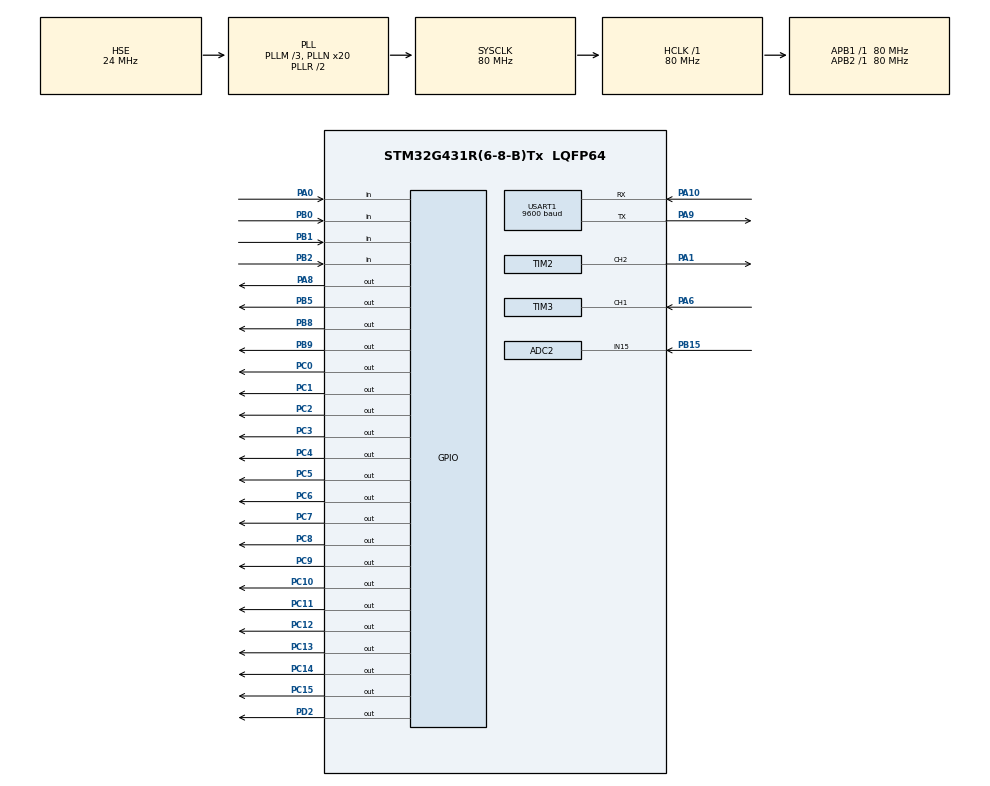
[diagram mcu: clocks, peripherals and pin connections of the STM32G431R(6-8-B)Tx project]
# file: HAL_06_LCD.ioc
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ADC2.Channel-0\#ChannelRegularConversion=ADC_CHANNEL_15
ADC2.ClockPrescaler=ADC_CLOCK_ASYNC_DIV128
ADC2.NbrOfConversionFlag=1
ADC2.OffsetNumber-0\#ChannelRegularConversion=ADC_OFFSET_NONE
ADC2.Rank-0\#ChannelRegularConversion=1
ADC2.SamplingTime-0\#ChannelRegularConversion=ADC_SAMPLETIME_2CYCLES_5
Mcu.Family=STM32G4
Mcu.Name=STM32G431R(6-8-B)Tx
Mcu.Package=LQFP64
NVIC.PriorityGroup=NVIC_PRIORITYGROUP_4
NVIC.TIM1_BRK_TIM15_IRQn=true\:1\:0\:true\:false\:true\:true\:true\:true
NVIC.TIM3_IRQn=true\:0\:0\:false\:false\:true\:true\:true\:true
NVIC.TIM7_IRQn=true\:2\:0\:true\:false\:true\:true\:true\:true
NVIC.USART1_IRQn=true\:0\:0\:false\:false\:true\:true\:true\:true
PA0.GPIO_Mode=GPIO_MODE_INPUT
PA0.GPIO_PuPd=GPIO_PULLUP
PA0.Signal=GPIO_Input
PA1.Signal=S_TIM2_CH2
PA10.Mode=Asynchronous
PA10.Signal=USART1_RX
PA13.Mode=Serial_Wire
PA13.Signal=SYS_JTMS-SWDIO
PA14.Mode=Serial_Wire
PA14.Signal=SYS_JTCK-SWCLK
PA6.Signal=S_TIM3_CH1
PA8.Signal=GPIO_Output
PA9.Mode=Asynchronous
PA9.Signal=USART1_TX
PB0.GPIO_Mode=GPIO_MODE_INPUT
PB0.GPIO_PuPd=GPIO_PULLUP
PB0.Signal=GPIO_Input
PB1.GPIO_Mode=GPIO_MODE_INPUT
PB1.GPIO_PuPd=GPIO_PULLUP
PB1.Signal=GPIO_Input
PB15.Mode=IN15-Single-Ended
PB15.Signal=ADC2_IN15
PB2.GPIO_Mode=GPIO_MODE_INPUT
PB2.GPIO_PuPd=GPIO_PULLUP
PB2.Signal=GPIO_Input
PB5.Signal=GPIO_Output
PB8-BOOT0.Signal=GPIO_Output
PB9.Signal=GPIO_Output
PC0.Signal=GPIO_Output
PC1.Signal=GPIO_Output
PC10.GPIO_PuPd=GPIO_PULLUP
PC10.Signal=GPIO_Output
PC11.GPIO_PuPd=GPIO_PULLUP
PC11.Signal=GPIO_Output
PC12.GPIO_PuPd=GPIO_PULLUP
PC12.Signal=GPIO_Output
PC13.GPIO_PuPd=GPIO_PULLUP
PC13.Signal=GPIO_Output
PC14-OSC32_IN.GPIO_PuPd=GPIO_PULLUP
PC14-OSC32_IN.Signal=GPIO_Output
PC15-OSC32_OUT.GPIO_PuPd=GPIO_PULLUP
PC15-OSC32_OUT.Signal=GPIO_Output
PC2.Signal=GPIO_Output
PC3.Signal=GPIO_Output
PC4.Signal=GPIO_Output
PC5.Signal=GPIO_Output
PC6.Signal=GPIO_Output
PC7.Signal=GPIO_Output
PC8.GPIO_PuPd=GPIO_PULLUP
PC8.Signal=GPIO_Output
PC9.GPIO_PuPd=GPIO_PULLUP
PC9.Signal=GPIO_Output
PD2.GPIO_PuPd=GPIO_PULLUP
PD2.Signal=GPIO_Output
PF0-OSC_IN.Mode=HSE-External-Oscillator
PF0-OSC_IN.Signal=RCC_OSC_IN
PF1-OSC_OUT.Mode=HSE-External-Oscillator
PF1-OSC_OUT.Signal=RCC_OSC_OUT
ProjectManager.HeapSize=0x200
ProjectManager.StackSize=0x400
ProjectManager.TargetToolchain=MDK-ARM V5.27
RCC.ADC12Freq_Value=80000000
RCC.AHBFreq_Value=80000000
RCC.APB1Freq_Value=80000000
RCC.APB1TimFreq_Value=80000000
RCC.APB2Freq_Value=80000000
RCC.APB2TimFreq_Value=80000000
RCC.CortexFreq_Value=80000000
RCC.EXTERNAL_CLOCK_VALUE=12288000
RCC.HCLKFreq_Value=80000000
RCC.HSE_VALUE=24000000
RCC.HSI48_VALUE=48000000
RCC.HSI_VALUE=16000000
RCC.LSE_VALUE=32768
RCC.PLLM=RCC_PLLM_DIV3
RCC.PLLN=20
RCC.PLLSourceVirtual=RCC_PLLSOURCE_HSE
RCC.SYSCLKFreq_VALUE=80000000
RCC.SYSCLKSource=RCC_SYSCLKSOURCE_PLLCLK
RCC.USBFreq_Value=80000000
RCC.VCOOutputFreq_Value=160000000
SH.S_TIM2_CH2.0=TIM2_CH2,PWM Generation2 CH2
SH.S_TIM3_CH1.0=TIM3_CH1,Input_Capture1_from_TI1
TIM15.PeriodNoDither=1000-1
TIM15.Prescaler=800-1
TIM2.Channel-PWM\ Generation2\ CH2=TIM_CHANNEL_2
TIM2.PeriodNoDither=500-1
TIM2.Prescaler=80-1
TIM3.Channel-Input_Capture1_from_TI1=TIM_CHANNEL_1
TIM3.Channel-Input_Capture2_from_TI1_63=TIM_CHANNEL_2
TIM3.ICPolarity_CH1=TIM_INPUTCHANNELPOLARITY_FALLING
TIM3.Prescaler=80-1
TIM7.PeriodNoDither=1000-1
TIM7.Prescaler=80-1
USART1.BaudRate=9600
USART1.VirtualMode-Asynchronous=VM_ASYNC
VP_SYS_VS_DBSignals.Mode=DisableDeadBatterySignals
VP_TIM15_VS_ClockSourceINT.Mode=Internal
VP_TIM2_VS_ClockSourceINT.Mode=Internal
VP_TIM3_VS_ClockSourceINT.Mode=Internal
VP_TIM3_VS_indirect_ch1.Mode=Input_Capture2_from_TI1_63
VP_TIM7_VS_ClockSourceINT.Mode=Enable_Timer
board=custom

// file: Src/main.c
/* USER CODE BEGIN Header */
/**
  ******************************************************************************
  * @file           : main.c
  * @brief          : Main program body
  ******************************************************************************
  * @attention
  *
  * <h2><center>&copy; Copyright (c) 2021 STMicroelectronics.
  * All rights reserved.</center></h2>
  *
  * This software component is licensed by ST under BSD 3-Clause license,
  * the "License"; You may not use this file except in compliance with the
  * License. You may obtain a copy of the License at:
  *                        opensource.org/licenses/BSD-3-Clause
  *
  ******************************************************************************
  */
/* USER CODE END Header */
#include "main.h"
#include "adc.h"
#include "tim.h"
#include "usart.h"
#include "gpio.h"

/* USER CODE BEGIN Includes */
#include "headfile.h"
/* USER CODE END Includes */

void SystemClock_Config(void);

int main(void)
{

  /* MCU Configuration--------------------------------------------------------*/

  /* Reset of all peripherals, Initializes the Flash interface and the Systick. */
  HAL_Init();

  /* Configure the system clock */
  SystemClock_Config();

  /* Initialize all configured peripherals */
  MX_GPIO_Init();
  MX_ADC2_Init();
  MX_TIM2_Init();
  MX_TIM7_Init();
  MX_TIM15_Init();
  MX_USART1_UART_Init();
  MX_TIM3_Init();
  /* USER CODE BEGIN 2 */
	HAL_GPIO_WritePin(GPIOD, GPIO_PIN_2, GPIO_PIN_RESET);
	led_show(1,0);
	led_show(2,0);
	led_show(3,0);
	led_show(4,0);
	led_show(5,0);
	led_show(6,0);
	led_show(7,0);
	led_show(8,0);

	//led_show(1,1);

	LCD_Init();
	LCD_Clear(Black);
	LCD_SetBackColor(Black);
	LCD_SetTextColor(White);

	HAL_TIM_Base_Start_IT(&htim7);

	HAL_TIM_PWM_Start(&htim2,TIM_CHANNEL_2);
	__HAL_TIM_SET_COMPARE(&htim2,TIM_CHANNEL_2,50-1);

	//HAL_TIM_IC_Start_IT(&htim3, TIM_CHANNEL_2);
	//HAL_TIM_IC_Start_IT(&htim3, TIM_CHANNEL_1);

	HAL_UART_Receive_IT(&huart1, &rec_data, 1);
  /* USER CODE END 2 */

  /* Infinite loop */
  /* USER CODE BEGIN WHILE */
    while (1)
    {
			while_fun();
    /* USER CODE END WHILE */

    }
}

void SystemClock_Config(void)
{
  RCC_OscInitTypeDef RCC_OscInitStruct = {0};
  RCC_ClkInitTypeDef RCC_ClkInitStruct = {0};

  /** Configure the main internal regulator output voltage
  */
  HAL_PWREx_ControlVoltageScaling(PWR_REGULATOR_VOLTAGE_SCALE1);

  /** Initializes the RCC Oscillators according to the specified parameters
  * in the RCC_OscInitTypeDef structure.
  */
  RCC_OscInitStruct.OscillatorType = RCC_OSCILLATORTYPE_HSE;
  RCC_OscInitStruct.HSEState = RCC_HSE_ON;
  RCC_OscInitStruct.PLL.PLLState = RCC_PLL_ON;
  RCC_OscInitStruct.PLL.PLLSource = RCC_PLLSOURCE_HSE;
  RCC_OscInitStruct.PLL.PLLM = RCC_PLLM_DIV3;
  RCC_OscInitStruct.PLL.PLLN = 20;
  RCC_OscInitStruct.PLL.PLLP = RCC_PLLP_DIV2;
  RCC_OscInitStruct.PLL.PLLQ = RCC_PLLQ_DIV2;
  RCC_OscInitStruct.PLL.PLLR = RCC_PLLR_DIV2;
  if (HAL_RCC_OscConfig(&RCC_OscInitStruct) != HAL_OK)
  {
    Error_Handler();
  }

  /** Initializes the CPU, AHB and APB buses clocks
  */
  RCC_ClkInitStruct.ClockType = RCC_CLOCKTYPE_HCLK|RCC_CLOCKTYPE_SYSCLK
                              |RCC_CLOCKTYPE_PCLK1|RCC_CLOCKTYPE_PCLK2;
  RCC_ClkInitStruct.SYSCLKSource = RCC_SYSCLKSOURCE_PLLCLK;
  RCC_ClkInitStruct.AHBCLKDivider = RCC_SYSCLK_DIV1;
  RCC_ClkInitStruct.APB1CLKDivider = RCC_HCLK_DIV1;
  RCC_ClkInitStruct.APB2CLKDivider = RCC_HCLK_DIV1;

  if (HAL_RCC_ClockConfig(&RCC_ClkInitStruct, FLASH_LATENCY_2) != HAL_OK)
  {
    Error_Handler();
  }
}

void Error_Handler(void)
{
}
